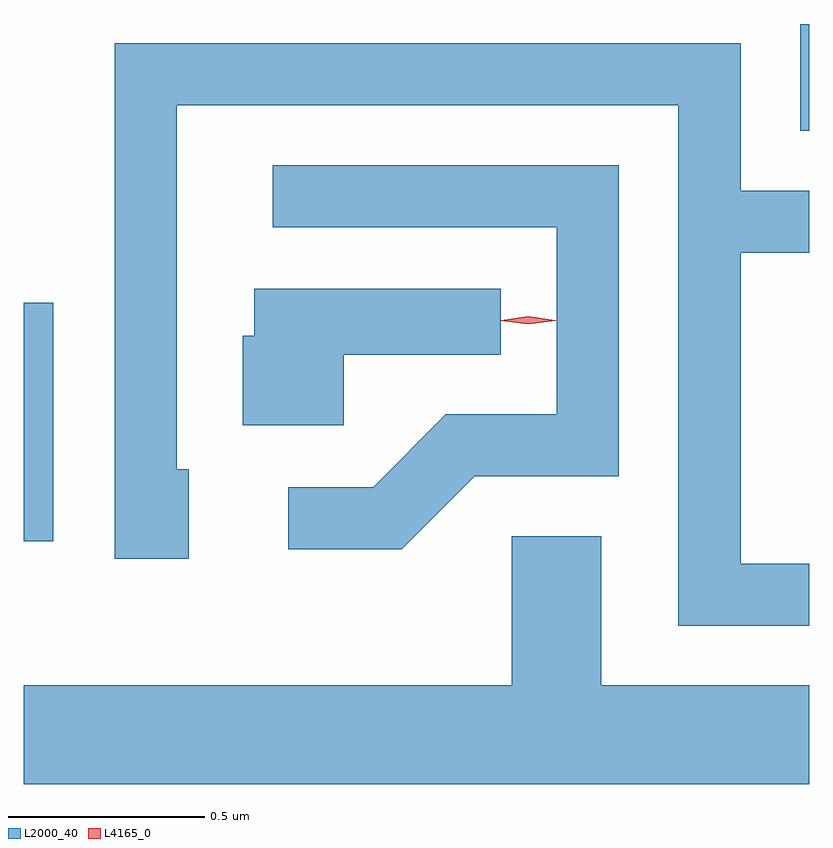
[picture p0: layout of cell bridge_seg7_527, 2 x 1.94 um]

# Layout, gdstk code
import gdstk
lib = gdstk.Library(unit=1e-6, precision=1e-09)
def R(c, l, rs):  # rectangles x0, y0, x1, y1
    for r in rs: c.add(gdstk.rectangle(r[:2], r[2:], *l))
def P(c, l, *ps):  # polygons
    for p in ps: c.add(gdstk.Polygon(p, *l))
L2000_40 = (2000, 40)
L4165_0 = (4165, 0)

bridge_seg7_527 = lib.new_cell('bridge_seg7_527')
R(bridge_seg7_527, L2000_40, [(1350.979,1694.971,1351.054,1695.578), (1352.956,1696.016,1352.979,1696.288)])
P(bridge_seg7_527, L2000_40, [(1352.979,1694.914),(1352.804,1694.914),(1352.804,1695.706),(1352.979,1695.706),(1352.979,1695.864),(1352.804,1695.864),(1352.804,1696.239),(1351.211,1696.239),(1351.211,1694.926),(1351.399,1694.926),(1351.399,1695.154),(1351.369,1695.154),(1351.369,1696.081),(1352.646,1696.081),(1352.646,1694.756),(1352.979,1694.756)],
  [(1352.127,1695.136),(1352.494,1695.136),(1352.494,1695.929),(1351.613,1695.929),(1351.613,1695.771),(1352.336,1695.771),(1352.336,1695.294),(1352.054,1695.294),(1351.869,1695.109),(1351.653,1695.109),(1351.653,1694.951),(1351.942,1694.951)],
  [(1351.794,1695.446),(1352.193,1695.446),(1352.193,1695.614),(1351.566,1695.614),(1351.566,1695.494),(1351.536,1695.494),(1351.536,1695.266),(1351.794,1695.266)],
  [(1352.979,1694.604),(1352.449,1694.604),(1352.449,1694.984),(1352.221,1694.984),(1352.221,1694.604),(1350.979,1694.604),(1350.979,1694.353),(1352.979,1694.353)])
P(bridge_seg7_527, L4165_0, [(1352.264,1695.524),(1352.194,1695.533),(1352.194,1695.534),(1352.194,1695.534),(1352.264,1695.544),(1352.333,1695.534),(1352.333,1695.534),(1352.333,1695.533)],
  [(1352.264,1695.524),(1352.197,1695.533),(1352.197,1695.534),(1352.197,1695.534),(1352.264,1695.544),(1352.33,1695.534),(1352.331,1695.534),(1352.33,1695.533)])

lib.write_gds('bridge_seg7_527.gds')
